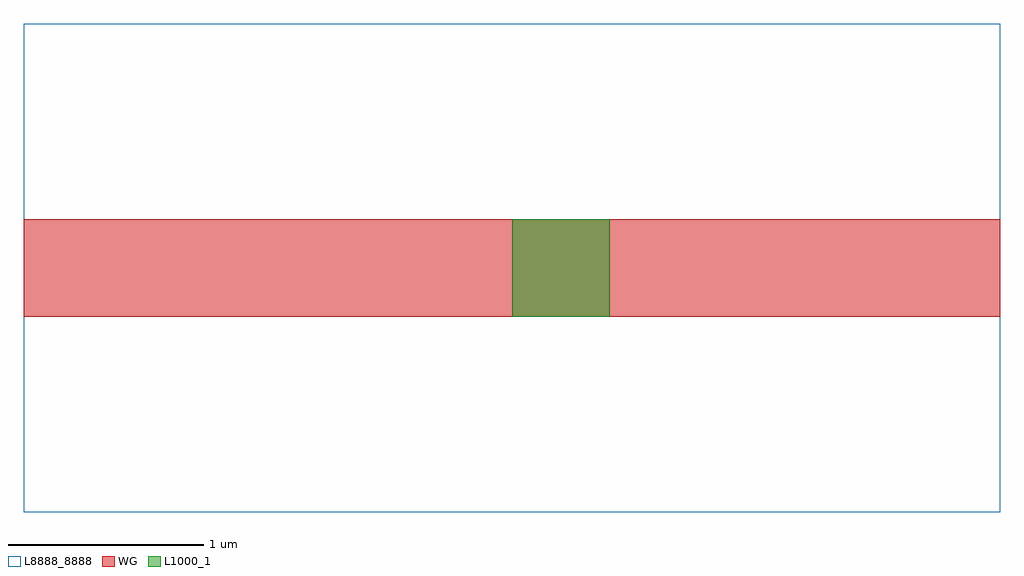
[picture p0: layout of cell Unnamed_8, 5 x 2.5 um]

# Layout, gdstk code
from math import pi, radians
import gdstk
lib = gdstk.Library(unit=1e-6, precision=1e-09)
def R(c, l, rs):  # rectangles x0, y0, x1, y1
    for r in rs: c.add(gdstk.rectangle(r[:2], r[2:], *l))
WG = (1, 0)
L1000_1 = (1000, 1)
L8888_8888 = (8888, 8888)

bbox_cunnamed_8_l8888_8_ = lib.new_cell('bbox_CUnnamed_8_L8888_8_b56775b0')
R(bbox_cunnamed_8_l8888_8_, L8888_8888, [(-2.5,-1,2.5,1.5)])

straight_l0p5_n2_csstrip = lib.new_cell('straight_L0p5_N2_CSstrip_WNone')
R(straight_l0p5_n2_csstrip, WG, [(0,-0.25,0.5,0.25)])

unnamed_9 = lib.new_cell('Unnamed_9')
R(unnamed_9, L1000_1, [(0,0,0.5,0.5)])

taper_l2_w0p5_w0p5_lwg__ = lib.new_cell('taper_L2_W0p5_W0p5_LWG__243b69d2')
R(taper_l2_w0p5_w0p5_lwg__, WG, [(0,-0.25,2,0.25)])

unnamed_10 = lib.new_cell('Unnamed_10')
R(unnamed_10, WG, [(0,0,0.5,0.5)])
unnamed_10.add(gdstk.Reference(unnamed_9, (0,0)))
unnamed_10.add(gdstk.Reference(taper_l2_w0p5_w0p5_lwg__, (-2,0.25)))
unnamed_10.add(gdstk.Reference(taper_l2_w0p5_w0p5_lwg__, (2.5,0.25), rotation=pi))

unnamed_8 = lib.new_cell('Unnamed_8')
unnamed_8.add(gdstk.Reference(bbox_cunnamed_8_l8888_8_, (0,0)))
unnamed_8.add(gdstk.Reference(straight_l0p5_n2_csstrip, (-2.5,0.25)))
unnamed_8.add(gdstk.Reference(unnamed_10, (0,0)))

lib.write_gds('Unnamed_8.gds')
